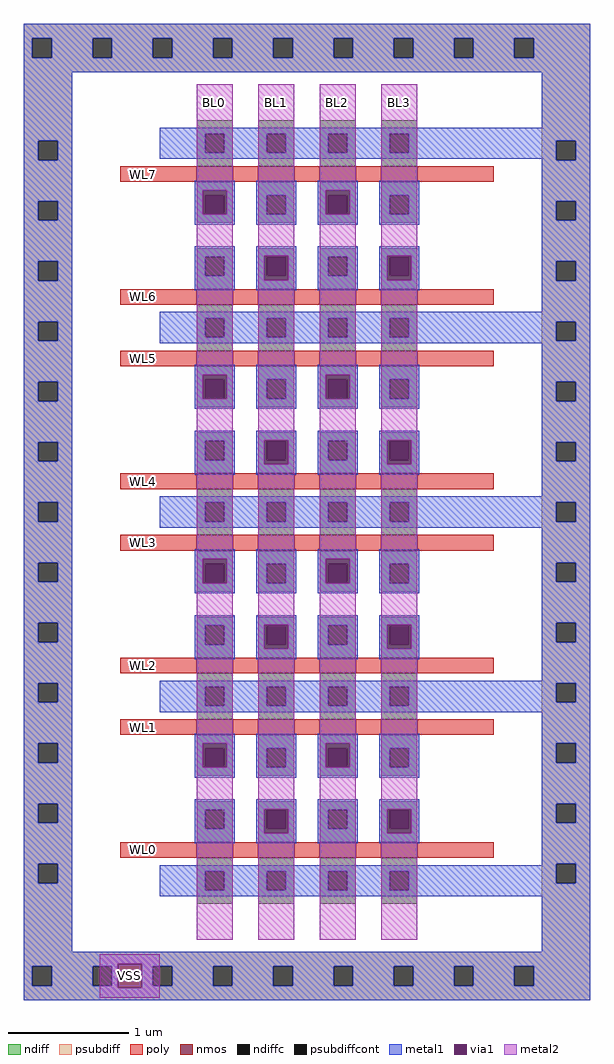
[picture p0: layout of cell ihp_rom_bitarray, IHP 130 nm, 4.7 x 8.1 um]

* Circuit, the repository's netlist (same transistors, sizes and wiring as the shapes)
* NGSPICE file created from ihp_rom_bitarray.ext - technology: ihp-sg13g2

.subckt ihp_rom_bitarray VSS WL0 WL1 WL2 WL3 WL4 WL5 WL6 WL7 BL0 BL1 BL2 BL3
X0 VSS WL5 BL2 VSS sg13_lv_nmos ad=57f pd=0.68u as=0.102p ps=1.28u w=0.3u l=0.13u
X1 a_225_64# WL0 VSS VSS sg13_lv_nmos ad=0.102p pd=1.28u as=0.114p ps=1.36u w=0.3u l=0.13u
X2 VSS WL7 BL2 VSS sg13_lv_nmos ad=0.114p pd=1.36u as=0.102p ps=1.28u w=0.3u l=0.13u
X3 VSS WL5 a_327_786# VSS sg13_lv_nmos ad=57f pd=0.68u as=0.102p ps=1.28u w=0.3u l=0.13u
X4 a_21_370# WL2 VSS VSS sg13_lv_nmos ad=0.102p pd=1.28u as=57f ps=0.68u w=0.3u l=0.13u
X5 BL1 WL4 VSS VSS sg13_lv_nmos ad=0.102p pd=1.28u as=57f ps=0.68u w=0.3u l=0.13u
X6 VSS WL7 BL0 VSS sg13_lv_nmos ad=0.114p pd=1.36u as=0.102p ps=1.28u w=0.3u l=0.13u
X7 VSS WL5 BL0 VSS sg13_lv_nmos ad=57f pd=0.68u as=0.102p ps=1.28u w=0.3u l=0.13u
X8 a_225_676# WL4 VSS VSS sg13_lv_nmos ad=0.102p pd=1.28u as=57f ps=0.68u w=0.3u l=0.13u
X9 VSS WL7 a_327_1092# VSS sg13_lv_nmos ad=0.114p pd=1.36u as=0.102p ps=1.28u w=0.3u l=0.13u
X10 BL1 WL6 VSS VSS sg13_lv_nmos ad=0.102p pd=1.28u as=57f ps=0.68u w=0.3u l=0.13u
X11 BL3 WL4 VSS VSS sg13_lv_nmos ad=0.102p pd=1.28u as=57f ps=0.68u w=0.3u l=0.13u
X12 a_225_982# WL6 VSS VSS sg13_lv_nmos ad=0.102p pd=1.28u as=57f ps=0.68u w=0.3u l=0.13u
X13 BL1 WL0 VSS VSS sg13_lv_nmos ad=0.102p pd=1.28u as=0.114p ps=1.36u w=0.3u l=0.13u
X14 VSS WL1 a_123_174# VSS sg13_lv_nmos ad=57f pd=0.68u as=0.102p ps=1.28u w=0.3u l=0.13u
X15 BL3 WL6 VSS VSS sg13_lv_nmos ad=0.102p pd=1.28u as=57f ps=0.68u w=0.3u l=0.13u
X16 VSS WL1 BL2 VSS sg13_lv_nmos ad=57f pd=0.68u as=0.102p ps=1.28u w=0.3u l=0.13u
X17 a_21_676# WL4 VSS VSS sg13_lv_nmos ad=0.102p pd=1.28u as=57f ps=0.68u w=0.3u l=0.13u
X18 VSS WL3 a_123_480# VSS sg13_lv_nmos ad=57f pd=0.68u as=0.102p ps=1.28u w=0.3u l=0.13u
X19 VSS WL1 a_327_174# VSS sg13_lv_nmos ad=57f pd=0.68u as=0.102p ps=1.28u w=0.3u l=0.13u
X20 VSS WL3 BL2 VSS sg13_lv_nmos ad=57f pd=0.68u as=0.102p ps=1.28u w=0.3u l=0.13u
X21 a_21_982# WL6 VSS VSS sg13_lv_nmos ad=0.102p pd=1.28u as=57f ps=0.68u w=0.3u l=0.13u
X22 VSS WL3 a_327_480# VSS sg13_lv_nmos ad=57f pd=0.68u as=0.102p ps=1.28u w=0.3u l=0.13u
X23 VSS WL1 BL0 VSS sg13_lv_nmos ad=57f pd=0.68u as=0.102p ps=1.28u w=0.3u l=0.13u
X24 BL3 WL0 VSS VSS sg13_lv_nmos ad=0.102p pd=1.28u as=0.114p ps=1.36u w=0.3u l=0.13u
X25 BL1 WL2 VSS VSS sg13_lv_nmos ad=0.102p pd=1.28u as=57f ps=0.68u w=0.3u l=0.13u
X26 VSS WL7 a_123_1092# VSS sg13_lv_nmos ad=0.114p pd=1.36u as=0.102p ps=1.28u w=0.3u l=0.13u
X27 VSS WL3 BL0 VSS sg13_lv_nmos ad=57f pd=0.68u as=0.102p ps=1.28u w=0.3u l=0.13u
X28 a_225_370# WL2 VSS VSS sg13_lv_nmos ad=0.102p pd=1.28u as=57f ps=0.68u w=0.3u l=0.13u
X29 BL3 WL2 VSS VSS sg13_lv_nmos ad=0.102p pd=1.28u as=57f ps=0.68u w=0.3u l=0.13u
X30 VSS WL5 a_123_786# VSS sg13_lv_nmos ad=57f pd=0.68u as=0.102p ps=1.28u w=0.3u l=0.13u
X31 a_21_64# WL0 VSS VSS sg13_lv_nmos ad=0.102p pd=1.28u as=0.114p ps=1.36u w=0.3u l=0.13u
.ends

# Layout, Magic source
magic
tech ihp-sg13g2
magscale 1 2
<< nmos >>
rect 21 1160 81 1186
rect 123 1160 183 1186
rect 225 1160 285 1186
rect 327 1160 387 1186
rect 21 956 81 982
rect 123 956 183 982
rect 225 956 285 982
rect 327 956 387 982
rect 21 854 81 880
rect 123 854 183 880
rect 225 854 285 880
rect 327 854 387 880
rect 21 650 81 676
rect 123 650 183 676
rect 225 650 285 676
rect 327 650 387 676
rect 21 548 81 574
rect 123 548 183 574
rect 225 548 285 574
rect 327 548 387 574
rect 21 344 81 370
rect 123 344 183 370
rect 225 344 285 370
rect 327 344 387 370
rect 21 242 81 268
rect 123 242 183 268
rect 225 242 285 268
rect 327 242 387 268
rect 21 38 81 64
rect 123 38 183 64
rect 225 38 285 64
rect 327 38 387 64
<< ndiff >>
rect 21 1240 81 1262
rect 21 1208 35 1240
rect 67 1208 81 1240
rect 21 1186 81 1208
rect 123 1240 183 1262
rect 123 1208 137 1240
rect 169 1208 183 1240
rect 123 1186 183 1208
rect 225 1240 285 1262
rect 225 1208 239 1240
rect 271 1208 285 1240
rect 225 1186 285 1208
rect 327 1240 387 1262
rect 327 1208 341 1240
rect 373 1208 387 1240
rect 327 1186 387 1208
rect 21 1138 81 1160
rect 21 1106 35 1138
rect 67 1106 81 1138
rect 21 1092 81 1106
rect 123 1138 183 1160
rect 123 1106 137 1138
rect 169 1106 183 1138
rect 123 1092 183 1106
rect 225 1138 285 1160
rect 225 1106 239 1138
rect 271 1106 285 1138
rect 225 1092 285 1106
rect 327 1138 387 1160
rect 327 1106 341 1138
rect 373 1106 387 1138
rect 327 1092 387 1106
rect 21 1036 81 1050
rect 21 1004 35 1036
rect 67 1004 81 1036
rect 21 982 81 1004
rect 123 1036 183 1050
rect 123 1004 137 1036
rect 169 1004 183 1036
rect 123 982 183 1004
rect 225 1036 285 1050
rect 225 1004 239 1036
rect 271 1004 285 1036
rect 225 982 285 1004
rect 327 1036 387 1050
rect 327 1004 341 1036
rect 373 1004 387 1036
rect 327 982 387 1004
rect 21 934 81 956
rect 21 902 35 934
rect 67 902 81 934
rect 21 880 81 902
rect 123 934 183 956
rect 123 902 137 934
rect 169 902 183 934
rect 123 880 183 902
rect 225 934 285 956
rect 225 902 239 934
rect 271 902 285 934
rect 225 880 285 902
rect 327 934 387 956
rect 327 902 341 934
rect 373 902 387 934
rect 327 880 387 902
rect 21 832 81 854
rect 21 800 35 832
rect 67 800 81 832
rect 21 786 81 800
rect 123 832 183 854
rect 123 800 137 832
rect 169 800 183 832
rect 123 786 183 800
rect 225 832 285 854
rect 225 800 239 832
rect 271 800 285 832
rect 225 786 285 800
rect 327 832 387 854
rect 327 800 341 832
rect 373 800 387 832
rect 327 786 387 800
rect 21 730 81 744
rect 21 698 35 730
rect 67 698 81 730
rect 21 676 81 698
rect 123 730 183 744
rect 123 698 137 730
rect 169 698 183 730
rect 123 676 183 698
rect 225 730 285 744
rect 225 698 239 730
rect 271 698 285 730
rect 225 676 285 698
rect 327 730 387 744
rect 327 698 341 730
rect 373 698 387 730
rect 327 676 387 698
rect 21 628 81 650
rect 21 596 35 628
rect 67 596 81 628
rect 21 574 81 596
rect 123 628 183 650
rect 123 596 137 628
rect 169 596 183 628
rect 123 574 183 596
rect 225 628 285 650
rect 225 596 239 628
rect 271 596 285 628
rect 225 574 285 596
rect 327 628 387 650
rect 327 596 341 628
rect 373 596 387 628
rect 327 574 387 596
rect 21 526 81 548
rect 21 494 35 526
rect 67 494 81 526
rect 21 480 81 494
rect 123 526 183 548
rect 123 494 137 526
rect 169 494 183 526
rect 123 480 183 494
rect 225 526 285 548
rect 225 494 239 526
rect 271 494 285 526
rect 225 480 285 494
rect 327 526 387 548
rect 327 494 341 526
rect 373 494 387 526
rect 327 480 387 494
rect 21 424 81 438
rect 21 392 35 424
rect 67 392 81 424
rect 21 370 81 392
rect 123 424 183 438
rect 123 392 137 424
rect 169 392 183 424
rect 123 370 183 392
rect 225 424 285 438
rect 225 392 239 424
rect 271 392 285 424
rect 225 370 285 392
rect 327 424 387 438
rect 327 392 341 424
rect 373 392 387 424
rect 327 370 387 392
rect 21 322 81 344
rect 21 290 35 322
rect 67 290 81 322
rect 21 268 81 290
rect 123 322 183 344
rect 123 290 137 322
rect 169 290 183 322
rect 123 268 183 290
rect 225 322 285 344
rect 225 290 239 322
rect 271 290 285 322
rect 225 268 285 290
rect 327 322 387 344
rect 327 290 341 322
rect 373 290 387 322
rect 327 268 387 290
rect 21 220 81 242
rect 21 188 35 220
rect 67 188 81 220
rect 21 174 81 188
rect 123 220 183 242
rect 123 188 137 220
rect 169 188 183 220
rect 123 174 183 188
rect 225 220 285 242
rect 225 188 239 220
rect 271 188 285 220
rect 225 174 285 188
rect 327 220 387 242
rect 327 188 341 220
rect 373 188 387 220
rect 327 174 387 188
rect 21 118 81 132
rect 21 86 35 118
rect 67 86 81 118
rect 21 64 81 86
rect 123 118 183 132
rect 123 86 137 118
rect 169 86 183 118
rect 123 64 183 86
rect 225 118 285 132
rect 225 86 239 118
rect 271 86 285 118
rect 225 64 285 86
rect 327 118 387 132
rect 327 86 341 118
rect 373 86 387 118
rect 327 64 387 86
rect 21 16 81 38
rect 21 -16 35 16
rect 67 -16 81 16
rect 21 -38 81 -16
rect 123 16 183 38
rect 123 -16 137 16
rect 169 -16 183 16
rect 123 -38 183 -16
rect 225 16 285 38
rect 225 -16 239 16
rect 271 -16 285 16
rect 225 -38 285 -16
rect 327 16 387 38
rect 327 -16 341 16
rect 373 -16 387 16
rect 327 -38 387 -16
<< ndiffc >>
rect 35 1208 67 1240
rect 137 1208 169 1240
rect 239 1208 271 1240
rect 341 1208 373 1240
rect 35 1106 67 1138
rect 137 1106 169 1138
rect 239 1106 271 1138
rect 341 1106 373 1138
rect 35 1004 67 1036
rect 137 1004 169 1036
rect 239 1004 271 1036
rect 341 1004 373 1036
rect 35 902 67 934
rect 137 902 169 934
rect 239 902 271 934
rect 341 902 373 934
rect 35 800 67 832
rect 137 800 169 832
rect 239 800 271 832
rect 341 800 373 832
rect 35 698 67 730
rect 137 698 169 730
rect 239 698 271 730
rect 341 698 373 730
rect 35 596 67 628
rect 137 596 169 628
rect 239 596 271 628
rect 341 596 373 628
rect 35 494 67 526
rect 137 494 169 526
rect 239 494 271 526
rect 341 494 373 526
rect 35 392 67 424
rect 137 392 169 424
rect 239 392 271 424
rect 341 392 373 424
rect 35 290 67 322
rect 137 290 169 322
rect 239 290 271 322
rect 341 290 373 322
rect 35 188 67 220
rect 137 188 169 220
rect 239 188 271 220
rect 341 188 373 220
rect 35 86 67 118
rect 137 86 169 118
rect 239 86 271 118
rect 341 86 373 118
rect 35 -16 67 16
rect 137 -16 169 16
rect 239 -16 271 16
rect 341 -16 373 16
<< psubdiff >>
rect -266 1398 674 1422
rect -266 1366 -252 1398
rect -220 1366 -152 1398
rect -120 1366 -52 1398
rect -20 1366 48 1398
rect 80 1366 148 1398
rect 180 1366 248 1398
rect 280 1366 348 1398
rect 380 1366 448 1398
rect 480 1366 548 1398
rect 580 1366 674 1398
rect -266 1342 674 1366
rect -266 1228 -186 1342
rect -266 1196 -242 1228
rect -210 1196 -186 1228
rect -266 1128 -186 1196
rect 594 1228 674 1342
rect 594 1196 618 1228
rect 650 1196 674 1228
rect -266 1096 -242 1128
rect -210 1096 -186 1128
rect -266 1028 -186 1096
rect 594 1128 674 1196
rect 594 1096 618 1128
rect 650 1096 674 1128
rect -266 996 -242 1028
rect -210 996 -186 1028
rect -266 928 -186 996
rect 594 1028 674 1096
rect 594 996 618 1028
rect 650 996 674 1028
rect -266 896 -242 928
rect -210 896 -186 928
rect -266 828 -186 896
rect 594 928 674 996
rect 594 896 618 928
rect 650 896 674 928
rect -266 796 -242 828
rect -210 796 -186 828
rect -266 728 -186 796
rect 594 828 674 896
rect 594 796 618 828
rect 650 796 674 828
rect -266 696 -242 728
rect -210 696 -186 728
rect -266 628 -186 696
rect 594 728 674 796
rect 594 696 618 728
rect 650 696 674 728
rect -266 596 -242 628
rect -210 596 -186 628
rect -266 528 -186 596
rect 594 628 674 696
rect 594 596 618 628
rect 650 596 674 628
rect -266 496 -242 528
rect -210 496 -186 528
rect -266 428 -186 496
rect 594 528 674 596
rect 594 496 618 528
rect 650 496 674 528
rect -266 396 -242 428
rect -210 396 -186 428
rect -266 328 -186 396
rect 594 428 674 496
rect 594 396 618 428
rect 650 396 674 428
rect -266 296 -242 328
rect -210 296 -186 328
rect -266 228 -186 296
rect 594 328 674 396
rect 594 296 618 328
rect 650 296 674 328
rect -266 196 -242 228
rect -210 196 -186 228
rect -266 128 -186 196
rect 594 228 674 296
rect 594 196 618 228
rect 650 196 674 228
rect -266 96 -242 128
rect -210 96 -186 128
rect -266 28 -186 96
rect 594 128 674 196
rect 594 96 618 128
rect 650 96 674 128
rect -266 -4 -242 28
rect -210 -4 -186 28
rect -266 -118 -186 -4
rect 594 28 674 96
rect 594 -4 618 28
rect 650 -4 674 28
rect 594 -118 674 -4
rect -266 -142 674 -118
rect -266 -174 -252 -142
rect -220 -174 -152 -142
rect -120 -174 -52 -142
rect -20 -174 48 -142
rect 80 -174 148 -142
rect 180 -174 248 -142
rect 280 -174 348 -142
rect 380 -174 448 -142
rect 480 -174 548 -142
rect 580 -174 674 -142
rect -266 -198 674 -174
<< psubdiffcont >>
rect -252 1366 -220 1398
rect -152 1366 -120 1398
rect -52 1366 -20 1398
rect 48 1366 80 1398
rect 148 1366 180 1398
rect 248 1366 280 1398
rect 348 1366 380 1398
rect 448 1366 480 1398
rect 548 1366 580 1398
rect -242 1196 -210 1228
rect 618 1196 650 1228
rect -242 1096 -210 1128
rect 618 1096 650 1128
rect -242 996 -210 1028
rect 618 996 650 1028
rect -242 896 -210 928
rect 618 896 650 928
rect -242 796 -210 828
rect 618 796 650 828
rect -242 696 -210 728
rect 618 696 650 728
rect -242 596 -210 628
rect 618 596 650 628
rect -242 496 -210 528
rect 618 496 650 528
rect -242 396 -210 428
rect 618 396 650 428
rect -242 296 -210 328
rect 618 296 650 328
rect -242 196 -210 228
rect 618 196 650 228
rect -242 96 -210 128
rect 618 96 650 128
rect -242 -4 -210 28
rect 618 -4 650 28
rect -252 -174 -220 -142
rect -152 -174 -120 -142
rect -52 -174 -20 -142
rect 48 -174 80 -142
rect 148 -174 180 -142
rect 248 -174 280 -142
rect 348 -174 380 -142
rect 448 -174 480 -142
rect 548 -174 580 -142
<< poly >>
rect -106 1160 21 1186
rect 81 1160 123 1186
rect 183 1160 225 1186
rect 285 1160 327 1186
rect 387 1160 514 1186
rect -106 956 21 982
rect 81 956 123 982
rect 183 956 225 982
rect 285 956 327 982
rect 387 956 514 982
rect -106 854 21 880
rect 81 854 123 880
rect 183 854 225 880
rect 285 854 327 880
rect 387 854 514 880
rect -106 650 21 676
rect 81 650 123 676
rect 183 650 225 676
rect 285 650 327 676
rect 387 650 514 676
rect -106 548 21 574
rect 81 548 123 574
rect 183 548 225 574
rect 285 548 327 574
rect 387 548 514 574
rect -106 344 21 370
rect 81 344 123 370
rect 183 344 225 370
rect 285 344 327 370
rect 387 344 514 370
rect -106 242 21 268
rect 81 242 123 268
rect 183 242 225 268
rect 285 242 327 268
rect 387 242 514 268
rect -106 38 21 64
rect 81 38 123 64
rect 183 38 225 64
rect 285 38 327 64
rect 387 38 514 64
<< metal1 >>
rect -266 1398 674 1422
rect -266 1366 -252 1398
rect -220 1366 -152 1398
rect -120 1366 -52 1398
rect -20 1366 48 1398
rect 80 1366 148 1398
rect 180 1366 248 1398
rect 280 1366 348 1398
rect 380 1366 448 1398
rect 480 1366 548 1398
rect 580 1366 674 1398
rect -266 1342 674 1366
rect -266 1228 -186 1342
rect 594 1250 674 1342
rect -266 1196 -242 1228
rect -210 1196 -186 1228
rect -40 1240 674 1250
rect -40 1208 35 1240
rect 67 1208 137 1240
rect 169 1208 239 1240
rect 271 1208 341 1240
rect 373 1228 674 1240
rect 373 1208 618 1228
rect -40 1198 618 1208
rect -266 1128 -186 1196
rect 594 1196 618 1198
rect 650 1196 674 1228
rect -266 1096 -242 1128
rect -210 1096 -186 1128
rect -266 1028 -186 1096
rect 18 1146 84 1162
rect 18 1106 31 1146
rect 71 1106 84 1146
rect 18 1089 84 1106
rect 120 1138 186 1162
rect 120 1106 137 1138
rect 169 1106 186 1138
rect 120 1089 186 1106
rect 222 1146 288 1162
rect 222 1106 235 1146
rect 275 1106 288 1146
rect 222 1089 288 1106
rect 324 1138 390 1162
rect 324 1106 341 1138
rect 373 1106 390 1138
rect 324 1089 390 1106
rect 594 1128 674 1196
rect 594 1096 618 1128
rect 650 1096 674 1128
rect -266 996 -242 1028
rect -210 996 -186 1028
rect -266 928 -186 996
rect 18 1036 84 1053
rect 18 1004 35 1036
rect 67 1004 84 1036
rect 18 980 84 1004
rect 120 1037 186 1053
rect 120 997 133 1037
rect 173 997 186 1037
rect 120 980 186 997
rect 222 1036 288 1053
rect 222 1004 239 1036
rect 271 1004 288 1036
rect 222 980 288 1004
rect 324 1037 390 1053
rect 324 997 337 1037
rect 377 997 390 1037
rect 324 980 390 997
rect 594 1028 674 1096
rect 594 996 618 1028
rect 650 996 674 1028
rect 594 944 674 996
rect -266 896 -242 928
rect -210 896 -186 928
rect -266 828 -186 896
rect -40 934 674 944
rect -40 902 35 934
rect 67 902 137 934
rect 169 902 239 934
rect 271 902 341 934
rect 373 928 674 934
rect 373 902 618 928
rect -40 896 618 902
rect 650 896 674 928
rect -40 892 674 896
rect -266 796 -242 828
rect -210 796 -186 828
rect -266 728 -186 796
rect 18 840 84 856
rect 18 800 31 840
rect 71 800 84 840
rect 18 783 84 800
rect 120 832 186 856
rect 120 800 137 832
rect 169 800 186 832
rect 120 783 186 800
rect 222 840 288 856
rect 222 800 235 840
rect 275 800 288 840
rect 222 783 288 800
rect 324 832 390 856
rect 324 800 341 832
rect 373 800 390 832
rect 324 783 390 800
rect 594 828 674 892
rect 594 796 618 828
rect 650 796 674 828
rect -266 696 -242 728
rect -210 696 -186 728
rect -266 628 -186 696
rect 18 730 84 747
rect 18 698 35 730
rect 67 698 84 730
rect 18 674 84 698
rect 120 731 186 747
rect 120 691 133 731
rect 173 691 186 731
rect 120 674 186 691
rect 222 730 288 747
rect 222 698 239 730
rect 271 698 288 730
rect 222 674 288 698
rect 324 731 390 747
rect 324 691 337 731
rect 377 691 390 731
rect 324 674 390 691
rect 594 728 674 796
rect 594 696 618 728
rect 650 696 674 728
rect 594 638 674 696
rect -266 596 -242 628
rect -210 596 -186 628
rect -266 528 -186 596
rect -40 628 674 638
rect -40 596 35 628
rect 67 596 137 628
rect 169 596 239 628
rect 271 596 341 628
rect 373 596 618 628
rect 650 596 674 628
rect -40 586 674 596
rect -266 496 -242 528
rect -210 496 -186 528
rect -266 428 -186 496
rect 18 534 84 550
rect 18 494 31 534
rect 71 494 84 534
rect 18 477 84 494
rect 120 526 186 550
rect 120 494 137 526
rect 169 494 186 526
rect 120 477 186 494
rect 222 534 288 550
rect 222 494 235 534
rect 275 494 288 534
rect 222 477 288 494
rect 324 526 390 550
rect 324 494 341 526
rect 373 494 390 526
rect 324 477 390 494
rect 594 528 674 586
rect 594 496 618 528
rect 650 496 674 528
rect -266 396 -242 428
rect -210 396 -186 428
rect -266 328 -186 396
rect 18 424 84 441
rect 18 392 35 424
rect 67 392 84 424
rect 18 368 84 392
rect 120 425 186 441
rect 120 385 133 425
rect 173 385 186 425
rect 120 368 186 385
rect 222 424 288 441
rect 222 392 239 424
rect 271 392 288 424
rect 222 368 288 392
rect 324 425 390 441
rect 324 385 337 425
rect 377 385 390 425
rect 324 368 390 385
rect 594 428 674 496
rect 594 396 618 428
rect 650 396 674 428
rect 594 332 674 396
rect -266 296 -242 328
rect -210 296 -186 328
rect -266 228 -186 296
rect -40 328 674 332
rect -40 322 618 328
rect -40 290 35 322
rect 67 290 137 322
rect 169 290 239 322
rect 271 290 341 322
rect 373 296 618 322
rect 650 296 674 328
rect 373 290 674 296
rect -40 280 674 290
rect -266 196 -242 228
rect -210 196 -186 228
rect -266 128 -186 196
rect 18 228 84 244
rect 18 188 31 228
rect 71 188 84 228
rect 18 171 84 188
rect 120 220 186 244
rect 120 188 137 220
rect 169 188 186 220
rect 120 171 186 188
rect 222 228 288 244
rect 222 188 235 228
rect 275 188 288 228
rect 222 171 288 188
rect 324 220 390 244
rect 324 188 341 220
rect 373 188 390 220
rect 324 171 390 188
rect 594 228 674 280
rect 594 196 618 228
rect 650 196 674 228
rect -266 96 -242 128
rect -210 96 -186 128
rect -266 28 -186 96
rect 18 118 84 135
rect 18 86 35 118
rect 67 86 84 118
rect 18 62 84 86
rect 120 119 186 135
rect 120 79 133 119
rect 173 79 186 119
rect 120 62 186 79
rect 222 118 288 135
rect 222 86 239 118
rect 271 86 288 118
rect 222 62 288 86
rect 324 119 390 135
rect 324 79 337 119
rect 377 79 390 119
rect 324 62 390 79
rect 594 128 674 196
rect 594 96 618 128
rect 650 96 674 128
rect -266 -4 -242 28
rect -210 -4 -186 28
rect 594 28 674 96
rect 594 26 618 28
rect -266 -118 -186 -4
rect -40 16 618 26
rect -40 -16 35 16
rect 67 -16 137 16
rect 169 -16 239 16
rect 271 -16 341 16
rect 373 -4 618 16
rect 650 -4 674 28
rect 373 -16 674 -4
rect -40 -26 674 -16
rect 594 -118 674 -26
rect -266 -138 674 -118
rect -266 -142 -110 -138
rect -266 -174 -252 -142
rect -220 -174 -152 -142
rect -120 -174 -110 -142
rect -266 -178 -110 -174
rect -70 -142 674 -138
rect -70 -174 -52 -142
rect -20 -174 48 -142
rect 80 -174 148 -142
rect 180 -174 248 -142
rect 280 -174 348 -142
rect 380 -174 448 -142
rect 480 -174 548 -142
rect 580 -174 674 -142
rect -70 -178 674 -174
rect -266 -198 674 -178
<< via1 >>
rect 31 1138 71 1146
rect 31 1106 35 1138
rect 35 1106 67 1138
rect 67 1106 71 1138
rect 235 1138 275 1146
rect 235 1106 239 1138
rect 239 1106 271 1138
rect 271 1106 275 1138
rect 133 1036 173 1037
rect 133 1004 137 1036
rect 137 1004 169 1036
rect 169 1004 173 1036
rect 133 997 173 1004
rect 337 1036 377 1037
rect 337 1004 341 1036
rect 341 1004 373 1036
rect 373 1004 377 1036
rect 337 997 377 1004
rect 31 832 71 840
rect 31 800 35 832
rect 35 800 67 832
rect 67 800 71 832
rect 235 832 275 840
rect 235 800 239 832
rect 239 800 271 832
rect 271 800 275 832
rect 133 730 173 731
rect 133 698 137 730
rect 137 698 169 730
rect 169 698 173 730
rect 133 691 173 698
rect 337 730 377 731
rect 337 698 341 730
rect 341 698 373 730
rect 373 698 377 730
rect 337 691 377 698
rect 31 526 71 534
rect 31 494 35 526
rect 35 494 67 526
rect 67 494 71 526
rect 235 526 275 534
rect 235 494 239 526
rect 239 494 271 526
rect 271 494 275 526
rect 133 424 173 425
rect 133 392 137 424
rect 137 392 169 424
rect 169 392 173 424
rect 133 385 173 392
rect 337 424 377 425
rect 337 392 341 424
rect 341 392 373 424
rect 373 392 377 424
rect 337 385 377 392
rect 31 220 71 228
rect 31 188 35 220
rect 35 188 67 220
rect 67 188 71 220
rect 235 220 275 228
rect 235 188 239 220
rect 239 188 271 220
rect 271 188 275 220
rect 133 118 173 119
rect 133 86 137 118
rect 137 86 169 118
rect 169 86 173 118
rect 133 79 173 86
rect 337 118 377 119
rect 337 86 341 118
rect 341 86 373 118
rect 373 86 377 118
rect 337 79 377 86
rect -110 -178 -70 -138
<< metal2 >>
rect 21 1146 81 1322
rect 21 1106 31 1146
rect 71 1106 81 1146
rect 21 840 81 1106
rect 21 800 31 840
rect 71 800 81 840
rect 21 534 81 800
rect 21 494 31 534
rect 71 494 81 534
rect 21 228 81 494
rect 21 188 31 228
rect 71 188 81 228
rect 21 -98 81 188
rect 123 1037 183 1322
rect 123 997 133 1037
rect 173 997 183 1037
rect 123 731 183 997
rect 123 691 133 731
rect 173 691 183 731
rect 123 425 183 691
rect 123 385 133 425
rect 173 385 183 425
rect 123 119 183 385
rect 123 79 133 119
rect 173 79 183 119
rect 123 -98 183 79
rect 225 1146 285 1322
rect 225 1106 235 1146
rect 275 1106 285 1146
rect 225 840 285 1106
rect 225 800 235 840
rect 275 800 285 840
rect 225 534 285 800
rect 225 494 235 534
rect 275 494 285 534
rect 225 228 285 494
rect 225 188 235 228
rect 275 188 285 228
rect 225 -98 285 188
rect 327 1037 387 1322
rect 327 997 337 1037
rect 377 997 387 1037
rect 327 731 387 997
rect 327 691 337 731
rect 377 691 387 731
rect 327 425 387 691
rect 327 385 337 425
rect 377 385 387 425
rect 327 119 387 385
rect 327 79 337 119
rect 377 79 387 119
rect 327 -98 387 79
rect -140 -138 -40 -122
rect -140 -178 -110 -138
rect -70 -178 -40 -138
rect -140 -194 -40 -178
<< labels >>
rlabel metal2 -140 -194 -40 -122 0 VSS
port 1 nsew
rlabel poly -98 42 -38 60 0 WL0
port 2 nsew
rlabel poly -98 246 -38 264 0 WL1
port 3 nsew
rlabel poly -98 348 -38 366 0 WL2
port 4 nsew
rlabel poly -98 552 -38 570 0 WL3
port 5 nsew
rlabel poly -98 654 -38 672 0 WL4
port 6 nsew
rlabel poly -98 858 -38 876 0 WL5
port 7 nsew
rlabel poly -98 960 -38 978 0 WL6
port 8 nsew
rlabel poly -98 1164 -38 1182 0 WL7
port 9 nsew
rlabel metal2 25 1270 77 1314 0 BL0
port 10 nsew
rlabel metal2 127 1270 179 1314 0 BL1
port 11 nsew
rlabel metal2 229 1270 281 1314 0 BL2
port 12 nsew
rlabel metal2 331 1270 383 1314 0 BL3
port 13 nsew
<< end >>
